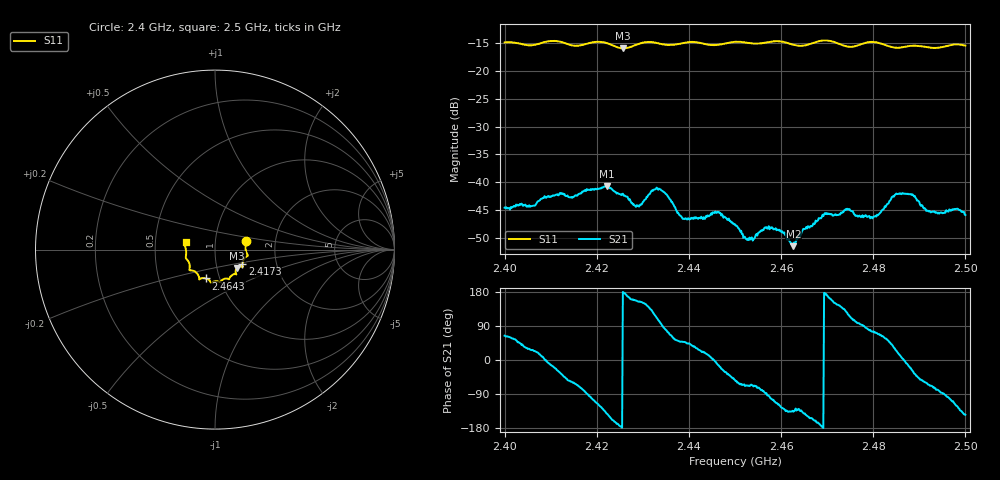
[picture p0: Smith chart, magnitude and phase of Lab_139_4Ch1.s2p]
# Hz S RI R 50
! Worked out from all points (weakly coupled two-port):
!   601 points, 2.4 GHz to 2.5 GHz, reference 50 ohm
!   highest |S21| = -40.77 dB at 2.4222 GHz (marker M1); lowest = -51.5 dB at 2.4627 GHz (marker M2)
!   lowest |S11| = -15.9 dB at 2.4257 GHz (marker M3), VSWR 1.38, Z = 62.4 - j13.1 ohm
!   |S11| at or under -10 dB: start of sweep to end of sweep
!   S12 and S22 are empty: the file has one direction only
!   S11 on the Smith chart (normalised r, x): 2.4 GHz: 1.41, +0.14; 2.4173 GHz: 1.34, -0.23; 2.4643 GHz: 0.86, -0.29; 2.5 GHz: 0.72, +0.06
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2.4e9  0.1736 0.0493  0.00257 0.00531  0 0  0 0
2.416667e9  0.1534 -0.0744  0.00215 -0.00765  0 0  0 0
2.417333e9  0.1528 -0.0819  0.00118 -0.00835  0 0  0 0
2.422167e9  0.151 -0.0951  -0.00718 -0.00568  0 0  0 0
2.425667e9  0.1226 -0.1024  -0.00787 7.24e-05  0 0  0 0
2.428833e9  0.1151 -0.1301  -0.00553 0.00258  0 0  0 0
2.433333e9  0.1131 -0.1365  -0.00226 0.00824  0 0  0 0
2.439e9  0.0809 -0.1597  0.00313 0.00344  0 0  0 0
2.446167e9  0.0462 -0.1654  0.00532 -0.00103  0 0  0 0
2.45e9  0.0294 -0.1807  0.00252 -0.00333  0 0  0 0
2.4525e9  0.0205 -0.1787  0.00119 -0.00283  0 0  0 0
2.457667e9  -0.0167 -0.1824  -0.000725 -0.00384  0 0  0 0
2.462667e9  -0.0337 -0.1689  -0.00192 -0.00184  0 0  0 0
2.464333e9  -0.0499 -0.1608  -0.00233 -0.00251  0 0  0 0
2.466667e9  -0.076 -0.1597  -0.00359 -0.00178  0 0  0 0
2.4695e9  -0.0879 -0.1663  -0.00526 0.000308  0 0  0 0
2.474333e9  -0.1001 -0.1325  -0.00329 0.00474  0 0  0 0
2.480167e9  -0.143 -0.1131  0.00128 0.00473  0 0  0 0
2.483333e9  -0.1407 -0.0901  0.00411 0.00495  0 0  0 0
2.488e9  -0.1604 -0.0508  0.00731 -0.00273  0 0  0 0
2.492e9  -0.1609 -0.0256  0.00229 -0.00495  0 0  0 0
2.5e9  -0.1638 0.042  -0.00413 -0.00292  0 0  0 0
